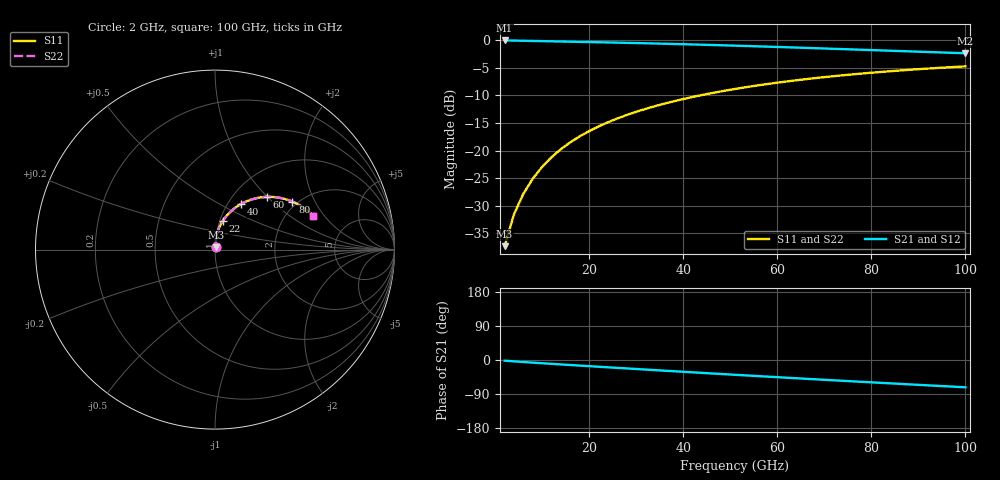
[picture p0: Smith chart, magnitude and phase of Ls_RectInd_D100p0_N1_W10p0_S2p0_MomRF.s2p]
! Created Mon Sep 21 19:24:20 2026
! List of port names and net name(s): example Port n = <port_name> <net_name1> <net_name2> ...
! Port 1 = P1 P1
! Port 2 = P2 P1
# hz S ma R 50
! Port[1]
! Port[2]
! 2 Port Network Data from data block
! freq  magS11  angS11  magS21  angS21  magS12  angS12  magS22  angS22
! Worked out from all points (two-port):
!   50 points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, 2 GHz to 100 GHz, reference 50 ohm
!   highest |S21| = -0.05 dB at 2 GHz (marker M1); lowest = -2.4 dB at 100 GHz (marker M2)
!   |S21| within 3 dB of the highest: start of sweep to end of sweep
!   lowest |S11| = -37.3 dB at 2 GHz (marker M3), VSWR 1.03, Z = 50.4 + j1.3 ohm
!   |S11| at or under -10 dB: start of sweep to 43.63 GHz
!   |S22| runs from -37.3 to -4.7 dB; largest |S21 - S12| = 0
!   S11 on the Smith chart (normalised r, x): 2 GHz: 1.01, +0.03; 22 GHz: 1.03, +0.34; 40 GHz: 1.15, +0.64; 60 GHz: 1.40, +0.99; 80 GHz: 1.88, +1.35; 100 GHz: 2.78, +1.57
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2e9  0.01358 71.8  0.9946 -1.8  0.9946 -1.8  0.01358 71.8
4e9  0.02652 81.2  0.9919 -3.6  0.9919 -3.6  0.02652 81.2
6e9  0.04063 84.1  0.9884 -5.3  0.9884 -5.3  0.04063 84.1
8e9  0.05567 84.8  0.9845 -7.0  0.9845 -7.0  0.05567 84.8
1e10  0.07127 84.2  0.9806 -8.6  0.9806 -8.6  0.07127 84.2
1.2e10  0.08715 83.1  0.9768 -10.1  0.9768 -10.1  0.08715 83.1
1.4e10  0.1031 81.6  0.9731 -11.7  0.9731 -11.7  0.1031 81.6
1.6e10  0.1189 80.0  0.9694 -13.2  0.9694 -13.2  0.1189 80.0
2e10  0.1502 76.6  0.9619 -16.3  0.9619 -16.3  0.1502 76.6
2.2e10  0.1655 74.8  0.9581 -17.8  0.9581 -17.8  0.1655 74.8
2.8e10  0.21 69.8  0.9462 -22.3  0.9462 -22.3  0.21 69.8
3.2e10  0.2386 66.5  0.9378 -25.3  0.9378 -25.3  0.2386 66.5
3.6e10  0.2662 63.3  0.9289 -28.2  0.9289 -28.2  0.2662 63.3
4e10  0.2929 60.2  0.9196 -31.1  0.9196 -31.1  0.2929 60.2
4.6e10  0.3311 55.6  0.905 -35.5  0.905 -35.5  0.3311 55.6
5.2e10  0.3672 51.2  0.8896 -39.7  0.8896 -39.7  0.3672 51.2
6e10  0.412 45.5  0.8683 -45.4  0.8683 -45.4  0.412 45.5
6.8e10  0.4529 39.9  0.8464 -50.9  0.8464 -50.9  0.453 39.9
8e10  0.5072 31.8  0.8135 -59.0  0.8135 -59.0  0.5072 31.8
8.4e10  0.5234 29.2  0.8027 -61.6  0.8027 -61.6  0.5234 29.2
9.2e10  0.553 24.0  0.7816 -66.9  0.7816 -66.9  0.553 24.0
1e11  0.5791 18.9  0.7615 -72.0  0.7615 -72.0  0.5791 18.9
